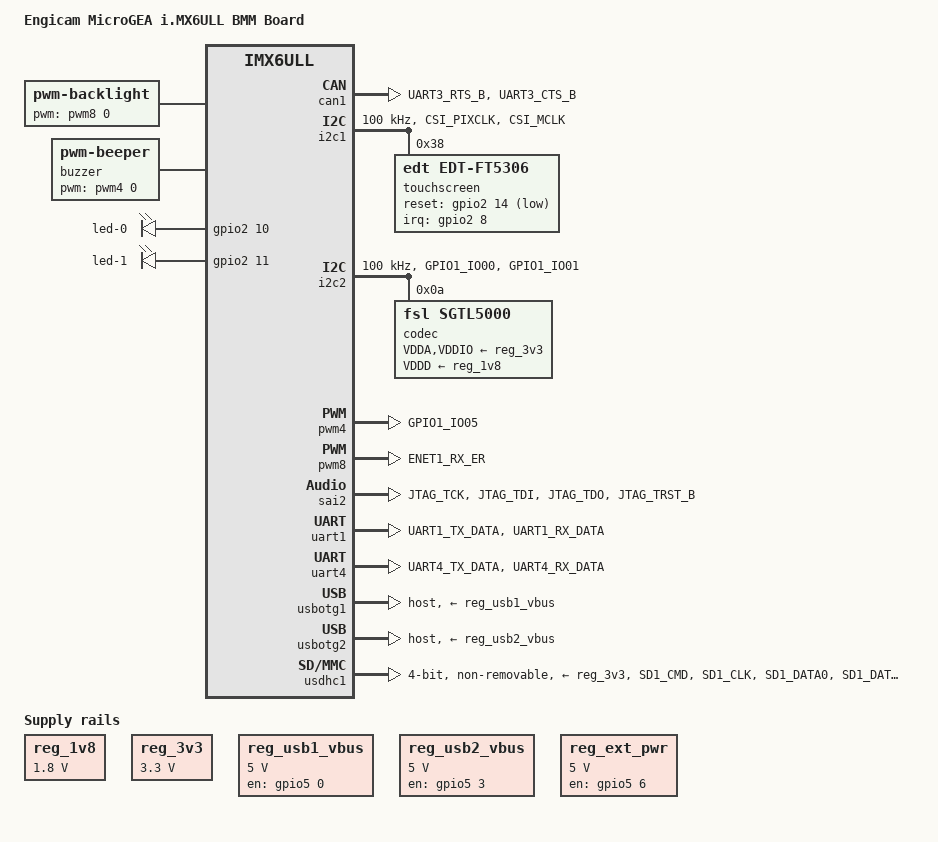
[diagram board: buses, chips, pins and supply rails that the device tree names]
// SPDX-License-Identifier: GPL-2.0
/*
 * Copyright (C) 2025 Amarula Solutions, Dario Binacchi <dario.binacchi@amarulasolutions.com>
 * Copyright (C) 2025 Engicam srl
 */

/dts-v1/;

#include "imx6ull-engicam-microgea.dtsi"

/ {
	compatible = "engicam,microgea-imx6ull-rmm",
		     "engicam,microgea-imx6ull", "fsl,imx6ull";
	model = "Engicam MicroGEA i.MX6ULL BMM Board";

	backlight {
		compatible = "pwm-backlight";
		brightness-levels = <0 100>;
		num-interpolated-steps = <100>;
		default-brightness-level = <85>;
		pwms = <&pwm8 0 100000 0>;
	};

	buzzer {
		compatible = "pwm-beeper";
		pwms = <&pwm4 0 1000000 0>;
	};

	reg_1v8: regulator-1v8 {
		compatible = "regulator-fixed";
		regulator-name = "1v8";
		regulator-min-microvolt = <1800000>;
		regulator-max-microvolt = <1800000>;
	};

	reg_3v3: regulator-3v3 {
		compatible = "regulator-fixed";
		regulator-name = "3v3";
		regulator-min-microvolt = <3300000>;
		regulator-max-microvolt = <3300000>;
	};

	reg_usb1_vbus: regulator-usb1-vbus {
		compatible = "regulator-fixed";
		pinctrl-names = "default";
		pinctrl-0 = <&pinctrl_reg_usb1>;
		regulator-name = "usb1_vbus";
		regulator-min-microvolt = <5000000>;
		regulator-max-microvolt = <5000000>;
		gpio = <&gpio5 0 GPIO_ACTIVE_HIGH>;
		enable-active-high;
	};

	reg_usb2_vbus: regulator-usb2-vbus {
		compatible = "regulator-fixed";
		pinctrl-names = "default";
		pinctrl-0 = <&pinctrl_reg_usb2>;
		regulator-name = "usbotg_vbus";
		regulator-min-microvolt = <5000000>;
		regulator-max-microvolt = <5000000>;
		gpio = <&gpio5 3 GPIO_ACTIVE_HIGH>;
		enable-active-high;
	};

	reg_ext_pwr: regulator-ext-pwr {
		compatible = "regulator-fixed";
		pinctrl-names = "default";
		pinctrl-0 = <&pinctrl_reg_ext_pwr>;
		regulator-name = "ext-pwr";
		regulator-min-microvolt = <5000000>;
		regulator-max-microvolt = <5000000>;
		gpio = <&gpio5 6 GPIO_ACTIVE_HIGH>;
		enable-active-high;
		regulator-always-on;
	};

	sound {
		compatible = "simple-audio-card";
		simple-audio-card,name = "imx6ull-microgea-rmm-sgtl5000";
		simple-audio-card,format = "i2s";
		simple-audio-card,bitclock-master = <&codec_dai>;
		simple-audio-card,frame-master = <&codec_dai>;
		simple-audio-card,widgets =
			"Microphone", "Mic Jack",
			"Headphone", "Headphone Jack";
		simple-audio-card,routing =
			"MIC_IN", "Mic Jack",
			"Mic Jack", "Mic Bias",
			"Headphone Jack", "HP_OUT";

		cpu_dai: simple-audio-card,cpu {
			sound-dai = <&sai2>;
		};

		codec_dai: simple-audio-card,codec {
			sound-dai = <&codec>;
		};
	};

	leds {
		compatible = "gpio-leds";
		pinctrl-names = "default";
		pinctrl-0 = <&pinctrl_leds>;

		led-0 {
			gpios = <&gpio2 10 GPIO_ACTIVE_HIGH>;
			default-state = "off";
			status = "okay";
		};

		led-1 {
			gpios = <&gpio2 11 GPIO_ACTIVE_HIGH>;
			default-state = "off";
			status = "okay";
		};
	};
};

&can1 {
	pinctrl-names = "default";
	pinctrl-0 = <&pinctrl_can>;
	status = "okay";
};

&i2c1 {
	pinctrl-names = "default";
	pinctrl-0 = <&pinctrl_i2c1>;
	clock-frequency = <100000>;
	status = "okay";

	touchscreen: touchscreen@38 {
		compatible = "edt,edt-ft5306";
		reg = <0x38>;
		pinctrl-names = "default";
		pinctrl-0 = <&pinctrl_touchscreen>;
		interrupt-parent = <&gpio2>;
		interrupts = <8 IRQ_TYPE_EDGE_FALLING>;
		reset-gpios = <&gpio2 14 GPIO_ACTIVE_LOW>;
		report-rate-hz = <60>;
		/* settings valid only for Hycon touchscreen */
		touchscreen-size-x = <1280>;
		touchscreen-size-y = <800>;
	};
};

&i2c2 {
	pinctrl-names = "default";
	pinctrl-0 = <&pinctrl_i2c2>;
	clock-frequency = <100000>;
	status = "okay";

	codec: audio-codec@a {
		compatible = "fsl,sgtl5000";
		reg = <0x0a>;
		pinctrl-names = "default";
		pinctrl-0 = <&pinctrl_mclk>;
		#sound-dai-cells = <0>;
		clocks = <&clks IMX6UL_CLK_CKO>;
		assigned-clocks = <&clks IMX6UL_CLK_CKO2_SEL>,
				  <&clks IMX6UL_CLK_CKO2_PODF>,
				  <&clks IMX6UL_CLK_CKO2>,
				  <&clks IMX6UL_CLK_CKO>;
		assigned-clock-parents = <&clks IMX6UL_CLK_OSC>,
					 <&clks IMX6UL_CLK_CKO2_SEL>,
					 <&clks IMX6UL_CLK_CKO2_PODF>,
					 <&clks IMX6UL_CLK_CKO2>;
		VDDA-supply = <&reg_3v3>;
		VDDIO-supply = <&reg_3v3>;
		VDDD-supply = <&reg_1v8>;
	};
};

&pwm4 {
	pinctrl-names = "default";
	pinctrl-0 = <&pinctrl_pwm4>;
	status = "okay";
};

&pwm8 {
	pinctrl-names = "default";
	pinctrl-0 = <&pinctrl_pwm8>;
	status = "okay";
};

&sai2 {
	pinctrl-names = "default";
	pinctrl-0 = <&pinctrl_sai2>;
	status = "okay";
};

&uart1 {
	pinctrl-names = "default";
	pinctrl-0 = <&pinctrl_uart1>;
	status = "okay";
};

&uart4 {
	pinctrl-names = "default";
	pinctrl-0 = <&pinctrl_uart4>;
	status = "okay";
};

&usbotg1 {
	dr_mode = "host";
	vbus-supply = <&reg_usb1_vbus>;
	disable-over-current;
	status = "okay";
};

&usbotg2 {
	dr_mode = "host";
	vbus-supply = <&reg_usb2_vbus>;
	disable-over-current;
	status = "okay";
};

/* MicroSD */
&usdhc1 {
	pinctrl-names = "default", "state_100mhz", "state_200mhz";
	pinctrl-0 = <&pinctrl_usdhc1>;
	pinctrl-1 = <&pinctrl_usdhc1_100mhz>;
	pinctrl-2 = <&pinctrl_usdhc1_200mhz>;
	vmmc-supply = <&reg_3v3>;
	bus-width = <4>;
	keep-power-in-suspend;
	non-removable;
	wakeup-source;
	status = "okay";
};

&iomuxc {
	pinctrl_can: can-grp {
		fsl,pins = <
			MX6UL_PAD_UART3_RTS_B__FLEXCAN1_RX	0x1b020
			MX6UL_PAD_UART3_CTS_B__FLEXCAN1_TX	0x1b020
		>;
	};

	pinctrl_i2c1: i2c1grp {
		fsl,pins = <
			MX6UL_PAD_CSI_PIXCLK__I2C1_SCL		0x4001b8b0
			MX6UL_PAD_CSI_MCLK__I2C1_SDA		0x4001b8b0
		>;
	};

	pinctrl_i2c2: i2c2grp {
		fsl,pins = <
			MX6UL_PAD_GPIO1_IO00__I2C2_SCL		0x4001b8b0
			MX6UL_PAD_GPIO1_IO01__I2C2_SDA		0x4001b8b0
		>;
	};

	pinctrl_leds: ledsgrp {
		fsl,pins = <
			MX6UL_PAD_ENET2_RX_EN__GPIO2_IO10	0x130b0
			MX6UL_PAD_ENET2_TX_DATA0__GPIO2_IO11	0x130b0
		>;
	};

	pinctrl_mclk: mclkgrp {
		fsl,pins = <
			MX6UL_PAD_JTAG_TMS__CCM_CLKO1		0x13009
		>;
	};

	pinctrl_pwm4: pwm4grp {
		fsl,pins = <
			MX6UL_PAD_GPIO1_IO05__PWM4_OUT		0x110b0
		>;
	};

	pinctrl_pwm8: pwm8grp {
		fsl,pins = <
			MX6UL_PAD_ENET1_RX_ER__PWM8_OUT		0x110b0
		>;
	};

	pinctrl_sai2: sai2grp {
		fsl,pins = <
			MX6UL_PAD_JTAG_TCK__SAI2_RX_DATA	0x130b0
			MX6UL_PAD_JTAG_TDI__SAI2_TX_BCLK	0x17088
			MX6UL_PAD_JTAG_TDO__SAI2_TX_SYNC	0x17088
			MX6UL_PAD_JTAG_TRST_B__SAI2_TX_DATA	0x120b0
		>;
	};

	pinctrl_touchscreen: touchgrp {
		fsl,pins = <
			MX6UL_PAD_ENET2_TX_CLK__GPIO2_IO14	0x17059
			MX6UL_PAD_ENET2_RX_DATA0__GPIO2_IO08	0x17059
		>;
	};

	pinctrl_uart1: uart1grp {
		fsl,pins = <
			MX6UL_PAD_UART1_TX_DATA__UART1_DCE_TX	0x1b0b1
			MX6UL_PAD_UART1_RX_DATA__UART1_DCE_RX	0x1b0b1
		>;
	};

	pinctrl_uart4: uart4grp {
		fsl,pins = <
			MX6UL_PAD_UART4_TX_DATA__UART4_DCE_TX	0x0b0b0
			MX6UL_PAD_UART4_RX_DATA__UART4_DCE_RX	0x0b0b0
		>;
	};

	pinctrl_usdhc1: usdhc1grp {
		fsl,pins = <
			MX6UL_PAD_SD1_CMD__USDHC1_CMD		0x17059
			MX6UL_PAD_SD1_CLK__USDHC1_CLK		0x10059
			MX6UL_PAD_SD1_DATA0__USDHC1_DATA0	0x17059
			MX6UL_PAD_SD1_DATA1__USDHC1_DATA1	0x17059
			MX6UL_PAD_SD1_DATA2__USDHC1_DATA2	0x17059
			MX6UL_PAD_SD1_DATA3__USDHC1_DATA3	0x17059
		>;
	};

	pinctrl_usdhc1_100mhz: usdhc1-100mhzgrp {
		fsl,pins = <
			MX6UL_PAD_SD1_CMD__USDHC1_CMD		0x170b9
			MX6UL_PAD_SD1_CLK__USDHC1_CLK		0x100b9
			MX6UL_PAD_SD1_DATA0__USDHC1_DATA0	0x170b9
			MX6UL_PAD_SD1_DATA1__USDHC1_DATA1	0x170b9
			MX6UL_PAD_SD1_DATA2__USDHC1_DATA2	0x170b9
			MX6UL_PAD_SD1_DATA3__USDHC1_DATA3	0x170b9
		>;
	};

	pinctrl_usdhc1_200mhz: usdhc1-200mhzgrp {
		fsl,pins = <
			MX6UL_PAD_SD1_CMD__USDHC1_CMD		0x170f9
			MX6UL_PAD_SD1_CLK__USDHC1_CLK		0x100f9
			MX6UL_PAD_SD1_DATA0__USDHC1_DATA0	0x170f9
			MX6UL_PAD_SD1_DATA1__USDHC1_DATA1	0x170f9
			MX6UL_PAD_SD1_DATA2__USDHC1_DATA2	0x170f9
			MX6UL_PAD_SD1_DATA3__USDHC1_DATA3	0x170f9
		>;
	};
};

&iomuxc_snvs {
	pinctrl_reg_usb1: regusb1grp {
		fsl,pins = <
			MX6ULL_PAD_SNVS_TAMPER0__GPIO5_IO00	0x17059
		>;
	};

	pinctrl_reg_usb2: regusb2grp {
		fsl,pins = <
			MX6ULL_PAD_SNVS_TAMPER3__GPIO5_IO03	0x17059
		>;
	};

	pinctrl_reg_ext_pwr: reg-ext-pwrgrp {
		fsl,pins = <
			MX6ULL_PAD_SNVS_TAMPER6__GPIO5_IO06	0x17059
		>;
	};
};
